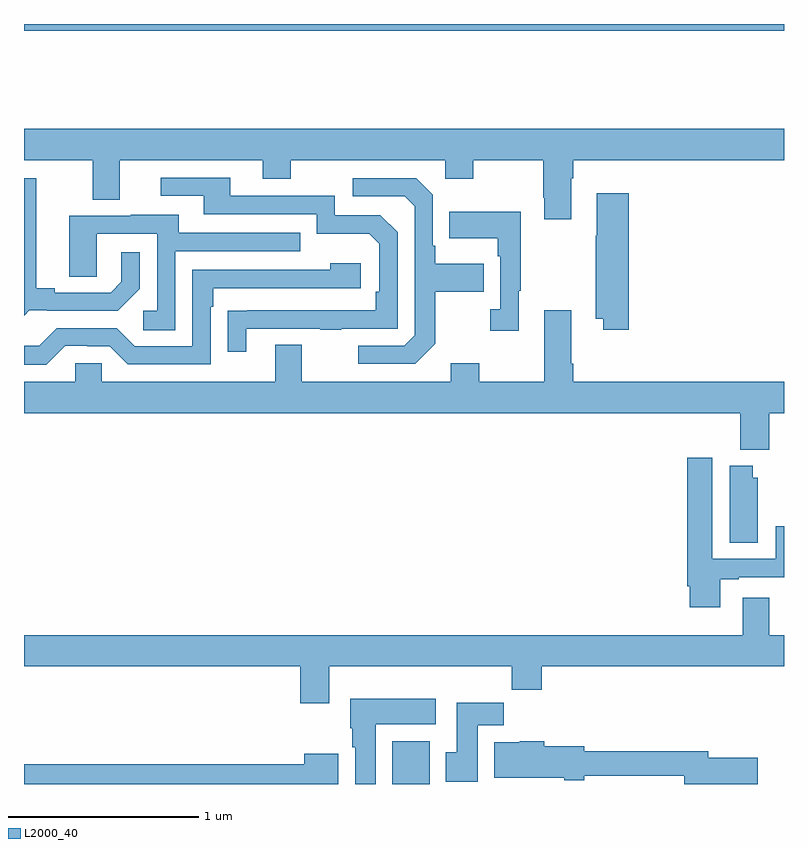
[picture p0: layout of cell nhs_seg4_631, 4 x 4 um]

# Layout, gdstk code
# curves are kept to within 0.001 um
import gdstk
lib = gdstk.Library(unit=1e-6, precision=1e-09)
def R(c, l, rs):  # rectangles x0, y0, x1, y1
    for r in rs: c.add(gdstk.rectangle(r[:2], r[2:], *l))
def P(c, l, *ps):  # polygons
    for p in ps: c.add(gdstk.Polygon(p, *l))
L2000_40 = (2000, 40)

nhs_seg4_631 = lib.new_cell('nhs_seg4_631')
R(nhs_seg4_631, L2000_40, [(144.938,762.9,145.135,763.126), (143,766.864,147,766.9)])
P(nhs_seg4_631, L2000_40, [(145.879,766.088),(145.892,766.088),(145.892,766.184),(147,766.184),(147,766.348),(143,766.348),(143,766.184),(143.363,766.184),(143.363,765.976),(143.503,765.976),(143.503,766.184),(144.257,766.184),(144.257,766.085),(144.405,766.085),(144.405,766.184),(145.218,766.184),(145.218,766.085),(145.365,766.085),(145.365,766.184),(145.732,766.184),(145.732,765.985),(145.739,765.985),(145.739,765.873),(145.879,765.873)],
  [(144.169,765.297),(144.559,765.297),(144.559,765.292),(144.671,765.292),(144.671,765.297),(144.966,765.297),(144.966,765.804),(144.876,765.894),(144.636,765.894),(144.636,765.996),(144.085,765.996),(144.085,766.092),(143.721,766.092),(143.721,765.996),(143.945,765.996),(143.945,765.9),(144.54,765.9),(144.54,765.797),(144.817,765.797),(144.87,765.744),(144.87,765.49),(144.85,765.49),(144.85,765.393),(144.073,765.392),(144.073,765.174),(144.169,765.174)],
  [(143.028,765.393),(143.122,765.393),(143.122,765.39),(143.494,765.39),(143.61,765.506),(143.61,765.7),(143.513,765.7),(143.513,765.543),(143.456,765.486),(143.161,765.486),(143.161,765.509),(143.065,765.509),(143.065,766.089),(143,766.089),(143,765.365)],
  [(145.165,765.217),(145.165,765.49),(145.421,765.49),(145.421,765.637),(145.165,765.637),(145.165,765.733),(145.152,765.733),(145.152,766.002),(145.065,766.089),(144.729,766.089),(144.729,765.993),(145.005,765.993),(145.056,765.942),(145.056,765.261),(145.002,765.207),(144.759,765.207),(144.759,765.111),(145.059,765.111)],
  [(146.183,766.009),(146.015,766.009),(146.015,765.785),(146.008,765.785),(146.008,765.35),(146.048,765.35),(146.048,765.291),(146.183,765.291)],
  [(145.603,765.497),(145.615,765.497),(145.615,765.913),(145.237,765.913),(145.237,765.773),(145.494,765.773),(145.494,765.677),(145.506,765.677),(145.506,765.398),(145.455,765.398),(145.455,765.285),(145.603,765.285)],
  [(143.796,765.705),(144.455,765.705),(144.455,765.801),(143.815,765.801),(143.815,765.895),(143.561,765.895),(143.561,765.891),(143.237,765.891),(143.237,765.571),(143.382,765.571),(143.382,765.795),(143.7,765.795),(143.7,765.39),(143.628,765.39),(143.628,765.289),(143.796,765.289)],
  [(143.217,765.207),(143.333,765.207),(143.333,765.204),(143.451,765.204),(143.547,765.108),(143.982,765.108),(143.982,765.413),(143.995,765.413),(143.995,765.51),(144.772,765.51),(144.772,765.64),(144.611,765.64),(144.611,765.606),(143.886,765.606),(143.886,765.204),(143.583,765.204),(143.487,765.3),(143.172,765.3),(143.079,765.207),(143,765.207),(143,765.107),(143.117,765.107)],
  [(146.923,764.852),(147,764.852),(147,765.016),(145.892,765.016),(145.892,765.112),(145.879,765.112),(145.879,765.394),(145.739,765.394),(145.739,765.016),(145.395,765.016),(145.395,765.115),(145.247,765.115),(145.247,765.016),(144.463,765.016),(144.463,765.211),(144.323,765.211),(144.323,765.016),(143.409,765.016),(143.409,765.114),(143.271,765.114),(143.271,765.016),(143,765.016),(143,764.852),(146.771,764.852),(146.771,764.66),(146.923,764.66)],
  [(146.665,763.977),(146.761,763.977),(146.761,763.989),(147,763.989),(147,764.257),(146.957,764.257),(146.957,764.085),(146.623,764.085),(146.623,764.617),(146.492,764.617),(146.492,763.942),(146.504,763.942),(146.504,763.83),(146.665,763.83)],
  [(146.863,764.511),(146.836,764.511),(146.836,764.575),(146.714,764.575),(146.714,764.17),(146.863,764.17)],
  [(144.607,763.52),(145.567,763.52),(145.567,763.396),(145.724,763.396),(145.724,763.52),(147,763.52),(147,763.684),(146.923,763.684),(146.923,763.879),(146.783,763.879),(146.783,763.684),(143,763.684),(143,763.52),(144.455,763.52),(144.455,763.326),(144.607,763.326)],
  [(144.85,763.214),(145.168,763.214),(145.168,763.348),(144.716,763.348),(144.716,763.194),(144.728,763.194),(144.728,763.094),(144.743,763.094),(144.743,762.9),(144.85,762.9)],
  [(145.387,763.208),(145.526,763.208),(145.526,763.327),(145.277,763.327),(145.277,763.068),(145.22,763.068),(145.22,762.912),(145.387,762.912)],
  [(146.863,763.038),(146.602,763.038),(146.602,763.072),(145.948,763.072),(145.948,763.098),(145.739,763.098),(145.739,763.126),(145.608,763.126),(145.608,763.12),(145.475,763.12),(145.475,762.932),(145.844,762.932),(145.844,762.92),(145.948,762.92),(145.948,762.943),(146.474,762.943),(146.474,762.9),(146.863,762.9)],
  [(144.655,763.06),(144.476,763.06),(144.476,763.004),(143,763.004),(143,762.9),(144.655,762.9)])

lib.write_gds('nhs_seg4_631.gds')
